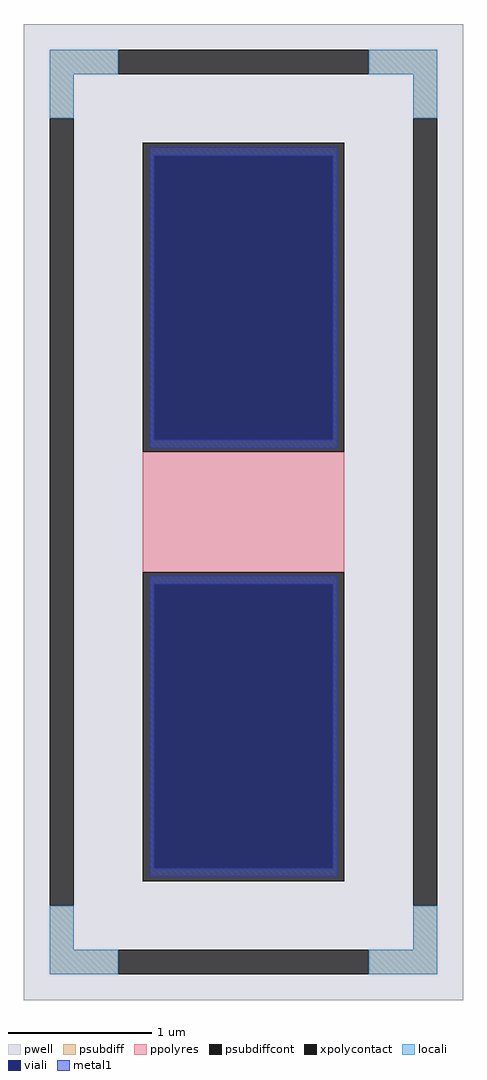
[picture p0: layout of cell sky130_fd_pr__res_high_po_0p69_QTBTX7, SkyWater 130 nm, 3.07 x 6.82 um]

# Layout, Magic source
magic
tech sky130A
magscale 1 2
<< pwell >>
rect -307 -682 307 682
<< psubdiff >>
rect -271 612 -175 646
rect 175 612 271 646
rect -271 550 -237 612
rect 237 550 271 612
rect -271 -612 -237 -550
rect 237 -612 271 -550
rect -271 -646 -175 -612
rect 175 -646 271 -612
<< psubdiffcont >>
rect -175 612 175 646
rect -271 -550 -237 550
rect 237 -550 271 550
rect -175 -646 175 -612
<< xpolycontact >>
rect -141 84 141 516
rect -141 -516 141 -84
<< ppolyres >>
rect -141 -84 141 84
<< locali >>
rect -271 612 -175 646
rect 175 612 271 646
rect -271 550 -237 612
rect 237 550 271 612
rect -271 -612 -237 -550
rect 237 -612 271 -550
rect -271 -646 -175 -612
rect 175 -646 271 -612
<< viali >>
rect -125 101 125 498
rect -125 -498 125 -101
<< metal1 >>
rect -131 498 131 510
rect -131 101 -125 498
rect 125 101 131 498
rect -131 89 131 101
rect -131 -101 131 -89
rect -131 -498 -125 -101
rect 125 -498 131 -101
rect -131 -510 131 -498
<< properties >>
string FIXED_BBOX -254 -629 254 629
string gencell sky130_fd_pr__res_high_po_0p69
string library sky130
string parameters w 1.410 l 1 m 1 nx 1 wmin 1.410 lmin 0.50 class resistor rho 319.8 val 503.148 dummy 0 dw 0.0 term 194.82 sterm 0.0 caplen 0 guard 1 glc 1 grc 1 gtc 1 gbc 1 compatible {sky130_fd_pr__res_high_po_0p35  sky130_fd_pr__res_high_po_0p69 sky130_fd_pr__res_high_po_1p41  sky130_fd_pr__res_high_po_2p85 sky130_fd_pr__res_high_po_5p73} snake 0 full_metal 1 wmax 1.410 n_guard 0 hv_guard 0 vias 1 viagb 0 viagt 0 viagl 0 viagr 0
<< end >>
